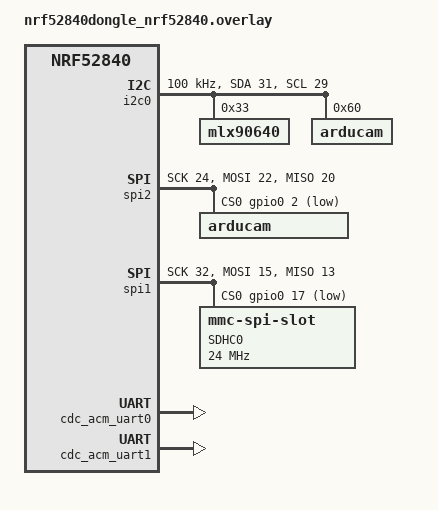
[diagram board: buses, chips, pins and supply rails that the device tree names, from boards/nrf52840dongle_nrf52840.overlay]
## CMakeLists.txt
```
cmake_minimum_required(VERSION 3.20.0)

# We are only building for one board
set(BOARD nrf52840dongle_nrf52840)

# If CONF_FILE is set then boards/${BOARD}.conf is not automatically merged anymore!
# Therefore only use OVERLAY_CONFIG
list(APPEND OVERLAY_CONFIG "overlay-debug.conf")
list(APPEND OVERLAY_CONFIG "overlay-ble.conf")

find_package(Zephyr REQUIRED HINTS $ENV{ZEPHYR_BASE})
project(heaty_dataCollector)

target_sources(app PRIVATE
	src/main.c
	src/control.c
	src/shell_commands.c
	)
	
add_subdirectory(../modules build)

zephyr_include_directories(config)
zephyr_library_compile_options(-Wall -Wextra -Wno-unused-parameter -Wno-unused-variable -Wno-comment)
```

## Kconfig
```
menu "heaty_dataCollector"

rsource "../modules/Kconfig.myModules"

endmenu

menu "Zephyr Kernel"
source "Kconfig.zephyr"
endmenu

module = HEATY
module-str = Heaty nrf52840
source "${ZEPHYR_BASE}/subsys/logging/Kconfig.template.log_config"
```

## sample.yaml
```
sample:
  name: Heaty Data Collector
```

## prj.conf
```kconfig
### General Configuration
#--------------------
CONFIG_NEWLIB_LIBC=y
CONFIG_NEWLIB_LIBC_FLOAT_PRINTF=y
CONFIG_CBPRINTF_FP_SUPPORT=y
CONFIG_FPU=y
CONFIG_HW_STACK_PROTECTION=y
CONFIG_SPEED_OPTIMIZATIONS=y

### Memory Configuration
#--------------------
CONFIG_HEAP_MEM_POOL_SIZE=130000

##############################
### Application features
##############################
CONFIG_HEATY_LOG_LEVEL_DBG=y
CONFIG_BASE64=y

CONFIG_DATE_TIME=y
# need to manually switch this off as no network is enabled and KConfig does not pass
CONFIG_DATE_TIME_NTP=n


CONFIG_WAIT_FOR_SERIAL_ATTACHED=n
CONFIG_WAIT_FOR_MANUAL_START=n

CONFIG_BLE_MODULE=y
CONFIG_BLE_MODULE_LOG_LEVEL_DBG=y
CONFIG_BLE_ENABLE_CAMERA_SERVICE=y
CONFIG_BLE_ENABLE_HEATY_SERVICE=y
CONFIG_BLE_ENABLE_TIME_SERVICE=y

CONFIG_SENSORS_MODULE=y
CONFIG_SENSORS_MODULE_LOG_LEVEL_INF=y
CONFIG_SENSORS_MLX90640=y
CONFIG_HEAT_MAP_CYCLE=10

CONFIG_CAMERA_MODULE=y
CONFIG_CAMERA_MODULE_LOG_LEVEL_DBG=y
CONFIG_CAMERA_DEFAULT_JPEG_SIZE=5
CONFIG_CAMERA_DEFAULT_CAM_INTERVAL=10
CONFIG_CAMERA_IMAGE_CHUNCK_SIZE=10239
CONFIG_ARDUCAM_MODULE_LOG_LEVEL_INF=y
CONFIG_ARDUCAM_TWI_USE_ZEPHYR=y
CONFIG_ARDUCAM_SPI_USE_ZEPHYR=y
CONFIG_ARDUCAM_TWI_USE_NRFX=n
CONFIG_ARDUCAM_SPI_USE_NRFX=n

CONFIG_FS_MODULE=y
CONFIG_FS_MODULE_LOG_LEVEL_DBG=y

CONFIG_FS_FATFS_LFN=y
CONFIG_FS_FATFS_MAX_LFN=24

### Shell
#--------------------
CONFIG_SHELL=y
CONFIG_SHELL_ARGC_MAX=8
CONFIG_SHELL_CMD_BUFF_SIZE=256
CONFIG_SHELL_STACK_SIZE=2048
CONFIG_SHELL_VT100_COLORS=n


### Event Manager
#--------------------
CONFIG_EVENT_MANAGER=y
CONFIG_LINKER_ORPHAN_SECTION_PLACE=y
CONFIG_REBOOT=y

CONFIG_CAF=y
CONFIG_CAF_LEDS=y
CONFIG_CAF_LEDS_PWM=y
CONFIG_PWM=y
CONFIG_LED=y
CONFIG_LED_PWM=y
CONFIG_LED_GPIO=n
CONFIG_CAF_LEDS_GPIO=n

CONFIG_CAF_BUTTONS=y
CONFIG_CAF_BUTTONS_POLARITY_INVERSED=y

### USB Settings (shell, logging, serial DFU)
#--------------------
CONFIG_USB_DEVICE_STACK=y
CONFIG_USB_DEVICE_PRODUCT="Heaty"
CONFIG_USB_DEVICE_MANUFACTURER="J"
CONFIG_USB_DEVICE_SN="HTY_000000000000"
# set to any value to avoid the warning during build
CONFIG_USB_DEVICE_VID=0x1234
CONFIG_USB_DEVICE_PID=0x5678

# large effect on memory
CONFIG_USB_CDC_ACM_RINGBUF_SIZE=2048
CONFIG_USB_MAX_NUM_TRANSFERS=4

# Switch off unused USB features
CONFIG_USB_COMPOSITE_DEVICE=n
CONFIG_USB_MASS_STORAGE=n

### SD CARD
#--------------------
CONFIG_GPIO=y
CONFIG_SPI=y
CONFIG_DISK_ACCESS=y
CONFIG_DISK_DRIVER_SDMMC=y
CONFIG_FILE_SYSTEM=y
CONFIG_FAT_FILESYSTEM_ELM=y

# Settings
CONFIG_FCB=y
CONFIG_SETTINGS=y
CONFIG_SETTINGS_FCB=y
CONFIG_FLASH=y
CONFIG_FLASH_PAGE_LAYOUT=y
CONFIG_FLASH_MAP=y
CONFIG_MPU_ALLOW_FLASH_WRITE=y
```

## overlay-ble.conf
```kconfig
### BLUETOOTH
#--------------------
CONFIG_BLE_MODULE=y

CONFIG_BT=y
CONFIG_BT_DEVICE_NAME="Heaty"
CONFIG_BT_PERIPHERAL=y
CONFIG_BT_PERIPHERAL_PREF_MIN_INT=6
CONFIG_BT_PERIPHERAL_PREF_MAX_INT=16
CONFIG_BT_PERIPHERAL_PREF_LATENCY=0
CONFIG_BT_PERIPHERAL_PREF_TIMEOUT=400
CONFIG_BT_BONDABLE=n
CONFIG_BT_MAX_CONN=2
CONFIG_BT_MAX_PAIRED=2
CONFIG_BT_AUTO_PHY_UPDATE=y
CONFIG_BT_DATA_LEN_UPDATE=y
CONFIG_BT_HCI_ACL_FLOW_CONTROL=y
CONFIG_BT_L2CAP_TX_MTU=260
CONFIG_BT_BUF_ACL_RX_SIZE=264
CONFIG_BT_NUS=y
CONFIG_BT_GATT_CLIENT=y
# This must be set manually on the thingy91_nrf52840
CONFIG_BT_CTLR=y
CONFIG_BT_CTLR_RX_BUFFERS=10
CONFIG_BT_BUF_ACL_TX_COUNT=10
CONFIG_BT_BUF_ACL_TX_SIZE=251
CONFIG_BT_CTLR_DATA_LENGTH_MAX=251

CONFIG_BT_SETTINGS=y

# Settings
CONFIG_FCB=y
CONFIG_SETTINGS=y
CONFIG_SETTINGS_FCB=y
CONFIG_FLASH=y
CONFIG_FLASH_PAGE_LAYOUT=y
CONFIG_FLASH_MAP=y
CONFIG_MPU_ALLOW_FLASH_WRITE=y

CONFIG_SHELL_BT_NUS=y
CONFIG_SHELL_BT_NUS_INIT_LOG_LEVEL_DBG=y
CONFIG_SHELL_BT_NUS_TX_RING_BUFFER_SIZE=240
CONFIG_SHELL_BT_NUS_RX_RING_BUFFER_SIZE=240
CONFIG_SHELL_BT_NUS_LOG_MESSAGE_QUEUE_SIZE=10
CONFIG_SHELL_BT_NUS_LOG_MESSAGE_QUEUE_TIMEOUT=1000

# Increase stack
CONFIG_SYSTEM_WORKQUEUE_STACK_SIZE=4096
```

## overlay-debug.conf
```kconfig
### Debug
#--------------------
CONFIG_DEBUG=y

### Logging
#--------------------
CONFIG_LOG=y
# CONFIG_LOG2_MODE_IMMEDIATE on the nrf52840 dongle (cdc usb uart only) makes the board not comming up anymore
CONFIG_LOG2_MODE_DEFERRED=y
CONFIG_LOG_BUFFER_SIZE=8096
CONFIG_LOG_PROCESS_THREAD_STACK_SIZE=1536

# logging over cdc usb needs CONFIG_CONSOLE, CONFIG_UART_CONSOLE and CONFIG_LOG_BACKEND_UART
CONFIG_CONSOLE=y
CONFIG_UART_CONSOLE=y
CONFIG_LOG_BACKEND_UART=y
CONFIG_SHELL_LOG_BACKEND=n

CONFIG_LOG_BACKEND_FS=y
CONFIG_LOG_BACKEND_FS_OUTPUT_TEXT=y
CONFIG_LOG_BACKEND_FS_DIR="/SD:"
CONFIG_LOG_BACKEND_FS_FILES_LIMIT=100
CONFIG_LOG_BACKEND_FS_FILE_SIZE=104857600
CONFIG_LOG_SPEED=y

# https://docs.zephyrproject.org/latest/services/logging/index.html?highlight=dictionary#id8

#CONFIG_LOG_BACKEND_UART_OUTPUT_DICTIONARY_BIN=y -> 800 to 400
#CONFIG_LOG_BACKEND_UART_OUTPUT_DICTIONARY_HEX=y -> 800 to 800 (double of BIN)


#defaults
#CONFIG_LOG_BACKEND_FS_FILE_PREFIX="log."
#CONFIG_LOG_BACKEND_FS_OVERWRITE=y

#increase buffers
CONFIG_LOG_BUFFER_SIZE=8192
CONFIG_LOG_PROCESS_THREAD_STACK_SIZE=4096

# to make "shell_uart: update." silent
CONFIG_LOG_DEFAULT_LEVEL=1
# to make USB CDC not connected silent
CONFIG_USB_CDC_ACM_LOG_LEVEL_ERR=y

# BT NUS does not take care to stop the shell (logging) when disconnected. Silence failure notifications.
CONFIG_SHELL_BT_NUS_LOG_LEVEL_ERR=y

### Thread analyzer
#--------------------
CONFIG_THREAD_ANALYZER=y
CONFIG_THREAD_ANALYZER_USE_LOG=n
CONFIG_THREAD_ANALYZER_AUTO=n
#CONFIG_THREAD_ANALYZER_AUTO_INTERVAL=3600
#CONFIG_THREAD_ANALYZER_AUTO_STACK_SIZE=1024
CONFIG_THREAD_NAME=y
CONFIG_THREAD_RUNTIME_STATS=y


# thread_analyzer:  SDC RX              : STACK: unused 720 usage 304 / 1024 (29 %); CPU: 0 %.[0m
# thread_analyzer:  thread_analyzer     : STACK: unused 520 usage 504 / 1024 (49 %); CPU: 0 %.[0m
# thread_analyzer:  sensors_module_thread: STACK: unused 2576 usage 5520 / 8096 (68 %); CPU: 0 %.[0m
# thread_analyzer:  fs_module_thread    : STACK: unused 672 usage 1376 / 2048 (67 %); CPU: 3 %.[0m
# thread_analyzer:  camera_module_thread: STACK: unused 1352 usage 600 / 1952 (30 %); CPU: 0 %.[0m
# thread_analyzer:  ble_module_thread   : STACK: unused 1584 usage 464 / 2048 (22 %); CPU: 0 %.[0m
# thread_analyzer:  0x200060b0          : STACK: unused 448 usage 576 / 1024 (56 %); CPU: 1 %.[0m
# thread_analyzer:  sysworkq            : STACK: unused 3264 usage 736 / 4000 (18 %); CPU: 0 %.[0m
# thread_analyzer:  MPSL signal         : STACK: unused 864 usage 160 / 1024 (15 %); CPU: 0 %.[0m
# thread_analyzer:  usbworkq            : STACK: unused 704 usage 320 / 1024 (31 %); CPU: 5 %.[0m
# thread_analyzer:  shell_uart          : STACK: unused 1640 usage 408 / 2048 (19 %); CPU: 0 %.[0m
# thread_analyzer:  logging             : STACK: unused 1296 usage 656 / 1952 (33 %); CPU: 1 %.[0m
# thread_analyzer:  idle 00             : STACK: unused 216 usage 104 / 320 (32 %); CPU: 82 %.[0m

### Heap memory statistics
#--------------------
CONFIG_HEAP_MEMORY_STATISTICS=y
CONFIG_MEMORY_STAT_LOG_LEVEL_WRN=y
CONFIG_HEAP_MEMORY_STATISTICS_THREAD=y
CONFIG_HEAP_MEMORY_STATISTICS_THREAD_TIMEOUT=15
```

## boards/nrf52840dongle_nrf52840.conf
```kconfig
CONFIG_BOARD_HAS_NRF5_BOOTLOADER=y
CONFIG_BOOTLOADER_MCUBOOT=n
```

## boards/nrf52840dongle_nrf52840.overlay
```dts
#include <dt-bindings/gpio/gpio.h>

/ {
	chosen {
		zephyr,console = &cdc_acm_uart0;
		zephyr,shell-uart = &cdc_acm_uart1;
	};

/*
	// Check this out in the future
	fstab {
		compatible = "zephyr,fstab";
		lfs1: lfs1 {
			compatible = "zephyr,fstab,littlefs";
			mount-point = "/lfs1";
			partition = <&lfs1_part>;
			automount;
			read-size = <16>;
			prog-size = <16>;
			cache-size = <64>;
			lookahead-size = <32>;
			block-cycles = <512>;
		};
	}; 
*/


};

&uart0 {
	status = "disabled";
};

&i2c0 {
	compatible = "nordic,nrf-twim";
	status = "okay";
	sda-pin = <31>;
	scl-pin = <29>;
	clock-frequency = <I2C_BITRATE_STANDARD>;

	mlx90640: mlx90640@33 {
		compatible = "mlx90640";
		reg = <0x33>;
		label = "MLX90640";
	};

	arducam_i2c0: arducam_i2c@60 {
		compatible = "arducam";
		reg = <0x60>;
		status = "okay";
		label = "ARDUCAM";
	};
};

&spi2 {
	compatible = "nordic,nrf-spi";
	status = "okay";
	sck-pin = <24>;
	mosi-pin = <22>;
	miso-pin = <20>;
	cs-gpios = <&gpio0 2 GPIO_ACTIVE_LOW>;
	arducam_spi0: arducam_spi@0 {
		compatible = "arducam";
		reg = <0>;
		status = "okay";
		label = "ARDUCAM";
	};
};

&spi1 {
	compatible = "nordic,nrf-spi";
	status = "okay";
	sck-pin = <32>;
	mosi-pin = <15>;
	miso-pin = <13>;
	cs-gpios = <&gpio0 17 GPIO_ACTIVE_LOW>;
    sdhc0: sdhc@0 {
                compatible = "zephyr,mmc-spi-slot";
                reg = <0>;
                status = "okay";
                label = "SDHC0";
                spi-max-frequency = <24000000>;
    };
};

&zephyr_udc0 {
	cdc_acm_uart0: cdc_acm_uart0 {
		compatible = "zephyr,cdc-acm-uart";
		label = "CDC_ACM_0";
	};

	cdc_acm_uart1: cdc_acm_uart1 {
		compatible = "zephyr,cdc-acm-uart";
		label = "CDC_ACM_1";
	};
};
```

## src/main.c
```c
#define MODULE main

#include <caf/events/module_state_event.h>
#include <event_manager.h>
#include <logging/log.h>
#include <zephyr.h>

#include "common/modules_common.h"
#include "utils.h"
#include "util_settings.h"

#ifdef CONFIG_USB_DEVICE_STACK
#include "usb_console.h"
#endif

LOG_MODULE_REGISTER(MODULE, CONFIG_HEATY_LOG_LEVEL);

void sendReady() {
    module_set_state(MODULE_STATE_READY);
}

void main(void) {
  // Reminder: CAF_LED only works after MODULE_STATE_READY!
  blink(1000);
#ifdef CONFIG_USB_DEVICE_STACK
  enable_usb_console();
#endif

  LOG_INF("Hello World! %s", CONFIG_BOARD);
  LOG_INF("build time: " __DATE__ " " __TIME__);

  if (event_manager_init()) {
    LOG_ERR("Event manager not initialized");
  } else {
#ifndef CONFIG_WAIT_FOR_MANUAL_START
    // sometimes crashes if not waiting here ... no idea why
    k_sleep(K_SECONDS(1));
    settings_util_init();
    sendReady();
#endif
  }

#ifdef CONFIG_CAF_LEDS
  send_led_event(LED_EVENT_STARTUP);
#endif

}
```

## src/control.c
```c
#define MODULE control_module

#include <event_manager.h>
#include <logging/log.h>
#include <stdio.h>
#include <zephyr.h>

#include "bt/bt_module_event.h"
#include "camera/camera_module_event.h"
#include "common/modules_common.h"
#ifdef CONFIG_FS_MODULE
#include "fs/fs_module_event.h"
#endif
#ifdef CONFIG_CAF_BUTTONS
#include <caf/events/button_event.h>
#endif
#include "sensors/sensors_module_event.h"
#include "util_settings.h"

LOG_MODULE_REGISTER(MODULE, CONFIG_HEATY_LOG_LEVEL);

#ifdef CONFIG_BLE_ENABLE_CAMERA_SERVICE
static void sendEvToBle(const char* buf, uint32_t size, bool useBase64) {
  struct bt_data_module_event* bt_event = new_bt_data_module_event(size);
  bt_event->type = BT_EVT_CAMERA_SEND;
  bt_event->dyndata.size = size;
  memcpy(bt_event->dyndata.data, buf, size);
  bt_event->useBase64 = useBase64;
  EVENT_SUBMIT(bt_event);
}

#define MAX_HEADER_LENGTH (CONFIG_MAX_PATH_LENGTH + 19 + 6)

static void sendHeader(const char* filename, uint32_t imageSize) {
  LOG_INF("send bluetooth header");
  static char header[MAX_HEADER_LENGTH];

  memset(header, 0, MAX_HEADER_LENGTH);
  snprintf(header, MAX_HEADER_LENGTH, "{\"name\":\"%s\",\"size\":%d}", filename, imageSize);
  sendEvToBle(header, strlen(header), false);
}

static void sendFinal() {
  char buf[1] = {0};
  sendEvToBle(buf, 1, false);
}

static bool handle_bt_module_event(const struct bt_module_event* event) {
  if (event->type == BT_EVT_SET_ARDUCAM_JPEG_SIZE) {
    SEND_VAL(camera, CAMERA_EVT_SET_ARDUCAM_JPEG_SIZE, event->data.val);
  }
  if (event->type == BT_EVT_SET_ARDUCAM_LIGHT_MODE) {
    SEND_VAL(camera, CAMERA_EVT_SET_ARDUCAM_LIGHT_MODE, event->data.val);
  }
  if (event->type == BT_EVT_SET_ARDUCAM_COLOR_SATURATION) {
    SEND_VAL(camera, CAMERA_EVT_SET_ARDUCAM_COLOR_SATURATION, event->data.val);
  }
  if (event->type == BT_EVT_SET_ARDUCAM_BRIGHTNESS) {
    SEND_VAL(camera, CAMERA_EVT_SET_ARDUCAM_BRIGHTNESS, event->data.val);
  }
  if (event->type == BT_EVT_SET_ARDUCAM_CONTRAST) {
    SEND_VAL(camera, CAMERA_EVT_SET_ARDUCAM_CONTRAST, event->data.val);
  }
  if (event->type == BT_EVT_SET_ARDUCAM_SPECIAL_EFFECTS) {
    SEND_VAL(camera, CAMERA_EVT_SET_ARDUCAM_SPECIAL_EFFECTS, event->data.val);
  }
  if (event->type == BT_EVT_SET_ARDUCAM_TAKE_PICTURE) {
    SEND_VAL(camera, CAMERA_EVT_SET_ARDUCAM_TAKE_PICTURE, event->data.val);
  }
  if (event->type == BT_EVT_SET_ARDUCAM_JPEG_QUALITY) {
    SEND_VAL(camera, CAMERA_EVT_SET_ARDUCAM_JPEG_QUALITY, event->data.val);
  }
  if (event->type == BT_EVT_SET_ARDUCAM_CAM_INTERVAL) {
    SEND_VAL(camera, CAMERA_EVT_SET_ARDUCAM_CAM_INTERVAL, event->data.val);
  }
  return false;
}
#else
static bool handle_bt_module_event(const struct bt_module_event* event) {
  return false;
}
#endif

static const char* counter_key = "counter";
static char filename[CONFIG_MAX_PATH_LENGTH];

#ifdef CONFIG_DATE_TIME
#include <date_time.h>
#endif

static bool handle_camera_module_data_event(const struct camera_module_data_event* event) {
  LOG_DBG("handle_camera_module_data_event");

  if (event->type == CAMERA_DATA_EVT_DATA_READY) {
#ifdef CONFIG_DATE_TIME
    struct tm* tm_localtime;
    int64_t t = 0;
    int ret = date_time_now(&t);
    if (ret < 0) {
      t = k_uptime_get();
    }
    t /= 1000;
    tm_localtime = localtime(&t);
    sprintf(filename, "%02u-%02u-%02u-%02u-%02u.jpg", tm_localtime->tm_mon + 1,
            tm_localtime->tm_mday, tm_localtime->tm_hour, tm_localtime->tm_min,
            tm_localtime->tm_sec);
#endif

    if (event->isFirst) {
#ifndef CONFIG_DATE_TIME
      incrementCounter(counter_key);
      sprintf(filename, "%05d.jpg", getCounter(counter_key));
#endif

#ifdef CONFIG_BLE_ENABLE_CAMERA_SERVICE
      sendHeader(filename, event->imageSize);
#endif
    } else {
#ifndef CONFIG_DATE_TIME
      sprintf(filename, "%05d.jpg", getCounter(counter_key));
#endif
    }

    struct fs_data_module_event* fs_event = new_fs_data_module_event(event->dyndata.size);
    memcpy(fs_event->dyndata.data, event->dyndata.data, event->dyndata.size);
    fs_event->dyndata.size = event->dyndata.size;
    fs_event->type = (event->isFirst) ? FS_EVT_WRITE_FILE : FS_EVT_APPEND_FILE;
    memcpy(fs_event->file_path, filename, CONFIG_MAX_PATH_LENGTH);

#ifdef CONFIG_BLE_ENABLE_CAMERA_SERVICE
    sendEvToBle(event->dyndata.data, event->dyndata.size, true);
    if (event->isLast) {
      sendFinal();
    }
#endif

    EVENT_SUBMIT(fs_event);
  }
  return false;
}

static bool handle_sensors_data_module_event(const struct sensors_data_module_event* event) {
  if (event->type == SENSORS_EVT_HEAT_MAP_DATA_READY) {
#ifdef CONFIG_BLE_ENABLE_HEATY_SERVICE
    {
      struct bt_data_module_event* bt_event = new_bt_data_module_event(event->dyndata.size);
      bt_event->type = BT_EVT_HEATMAP_SEND;
      bt_event->dyndata.size = event->dyndata.size;
      memcpy(bt_event->dyndata.data, event->dyndata.data, event->dyndata.size);
      bt_event->useBase64 = true;
      EVENT_SUBMIT(bt_event);
    }
    {
      struct bt_data_module_event* bt_event = new_bt_data_module_event(1);
      bt_event->type = BT_EVT_HEATMAP_SEND;
      bt_event->dyndata.size = 1;
      memset(bt_event->dyndata.data, 0, 1);
      bt_event->useBase64 = false;
      EVENT_SUBMIT(bt_event);
    }
#endif

#ifdef CONFIG_FS_MODULE
    {
#ifdef CONFIG_DATE_TIME
      struct tm* tm_localtime;
      int64_t t = 0;
      int ret = date_time_now(&t);
      if (ret < 0) {
        t = k_uptime_get();
      }
      t /= 1000;
      tm_localtime = localtime(&t);
      sprintf(filename, "%02u-%02u-%02u-%02u-%02u.map", tm_localtime->tm_mon + 1,
              tm_localtime->tm_mday, tm_localtime->tm_hour, tm_localtime->tm_min,
              tm_localtime->tm_sec);
#else
      sprintf(filename, "%04d.map", getCounter(counter_key));
#endif
      struct fs_data_module_event* fs_event = new_fs_data_module_event(event->dyndata.size);
      fs_event->type = FS_EVT_WRITE_FILE;
      memcpy(fs_event->file_path, filename, CONFIG_MAX_PATH_LENGTH);
      memcpy(fs_event->dyndata.data, event->dyndata.data, event->dyndata.size);
      fs_event->dyndata.size = event->dyndata.size;
      EVENT_SUBMIT(fs_event);
    }
#endif
  }
  return false;
}

#ifdef CONFIG_CAF_BUTTONS
enum button_id { BUTTON_ID_0, BUTTON_ID_COUNT };

static bool handle_button_event(const struct button_event* evt) {
  LOG_DBG("button_event pressed:%d, key_id:%d", evt->pressed, evt->key_id);
  if (evt->pressed) {
    switch (evt->key_id) {
      case BUTTON_ID_0:
        SEND_EVENT(bt, BT_EVT_TOGGLE_ADVERTISING);
        break;
      default:
        break;
    }
  } else {
    switch (evt->key_id) {
      case BUTTON_ID_0:
        break;
      default:
        break;
    }
  }

  return false;
}
#endif

static bool event_handler(const struct event_header* eh) {
#ifdef CONFIG_BLE_ENABLE_CAMERA_SERVICE
  if (is_camera_module_data_event(eh)) {
    return handle_camera_module_data_event(cast_camera_module_data_event(eh));
  }
#endif

  if (is_bt_module_event(eh)) {
    return handle_bt_module_event(cast_bt_module_event(eh));
  }

  if (is_sensors_data_module_event(eh)) {
    return handle_sensors_data_module_event(cast_sensors_data_module_event(eh));
  }

#ifdef CONFIG_CAF_BUTTONS
  if (is_button_event(eh)) {
    return handle_button_event(cast_button_event(eh));
  }
#endif

  LOG_WRN("unhandled event.");
  return false;
}

EVENT_LISTENER(MODULE, event_handler);
#ifdef CONFIG_BLE_ENABLE_CAMERA_SERVICE
EVENT_SUBSCRIBE(MODULE, camera_module_data_event);
#endif
EVENT_SUBSCRIBE(MODULE, bt_module_event);
EVENT_SUBSCRIBE(MODULE, sensors_data_module_event);
#ifdef CONFIG_CAF_BUTTONS
EVENT_SUBSCRIBE(MODULE, button_event);
#endif
```

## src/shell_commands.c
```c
#ifdef CONFIG_SHELL

#include <logging/log.h>
#include <shell/shell.h>

#include "common/memory_hook.h"
LOG_MODULE_REGISTER(shell, CONFIG_HEATY_LOG_LEVEL);

static int echo(const struct shell *shell, size_t argc, char **argv) {
  shell_print(shell, "argc = %d", argc);
  for (size_t cnt = 0; cnt < argc; cnt++) {
    shell_print(shell, "  argv[%d] = %s", cnt, argv[cnt]);
  }

  return 0;
}

static int log_hello(const struct shell *shell, size_t argc, char **argv) {
  LOG_INF("Hello World! %s\n", CONFIG_BOARD);
  LOG_INF("build time: " __DATE__ " " __TIME__);

  return 0;
}

extern void sendReady();
static int module_state_ready(const struct shell *shell, size_t argc, char **argv) {
  sendReady();
  return 0;
}

#include <time.h>
static int test_time_functions(const struct shell *shell, size_t argc, char **argv) {
  struct tm *tm_localtime;
  struct tm *tm_gmtime;
  time_t t;
  t = k_uptime_get();
  t /= 1000;
  tm_localtime = localtime(&t);
  tm_gmtime = gmtime(&t);
  shell_print(shell, "unix time in ms %lli", t);
  shell_print(shell, "asctime(tm_localtime): %s", asctime(tm_localtime));
  shell_print(shell, "asctime(tm_gmtime)   : %s", asctime(tm_gmtime));

  shell_print(shell, "custom formatting: %04u-%02u-%02u %02u:%02u:%02u",
              tm_localtime->tm_year + 1900, tm_localtime->tm_mon + 1, tm_localtime->tm_mday,
              tm_localtime->tm_hour, tm_localtime->tm_min, tm_localtime->tm_sec);

  return 0;
}

#ifdef CONFIG_DATE_TIME
#include <date_time.h>
#include <stdlib.h>

static int date_get(const struct shell *shell, size_t argc, char **argv) {
  int64_t t = 0;
  date_time_now(&t);
  t /= 1000;

  struct tm *tm_localtime;
  tm_localtime = localtime(&t);
  shell_print(shell, "%s unix time: %lli", asctime(tm_localtime), t);

  return 0;
}

static int date_set(const struct shell *shell, size_t argc, char **argv) {
  if (argc >= 2) {
    struct tm *tm_localtime;
    char *eptr;
    time_t t = strtoll(argv[1], &eptr, strlen(argv[1]));

    tm_localtime = localtime(&t);

    date_time_set(tm_localtime);
    shell_print(shell, "Set time to %s (%lli)", asctime(tm_localtime), t);
  }
  return 0;
}
#endif

#ifdef CONFIG_CAF_LEDS
#include "utils.h"
static int test_led(const struct shell *shell, size_t argc, char **argv) {
  shell_print(shell, "Testing red led");
  send_led_event(LED_TEST_RED);
  k_sleep(K_SECONDS(1));
  shell_print(shell, "Testing green led");
  send_led_event(LED_TEST_GREEN);
  k_sleep(K_SECONDS(1));
  shell_print(shell, "Testing blue led");
  send_led_event(LED_TEST_BLUE);
  k_sleep(K_SECONDS(1));
  shell_print(shell, "Testing warning event effect");
  send_led_event(LED_EVENT_WARNING);
  return 0;
}

static int clear_led(const struct shell *shell, size_t argc, char **argv) {
  send_led_event(LED_OFF);
  return 0;
}
#endif

#include "camera/arducam_mini_2mp/ArducamMini2MP.h"

// W 0xff, 0x01          appCtrl arducam_reg_write 255 1
// R 0x0A 10 => 0x26 38  appCtrl arducam_reg_read 10
// R 0x0B 11 => 0x42 66  appCtrl arducam_reg_read 11
#include <stdlib.h>

// atoi

static int arducam_reg_write(const struct shell *shell, size_t argc, char **argv) {
  if (argc >= 2) {
    long int li1, li2;
    char *pEnd;
    li1 = strtol(argv[1], &pEnd, 10);
    li2 = strtol(argv[2], &pEnd, 10);
    shell_print(shell, "echo %d, %d", li1, li2);
    arducam_mini_2mp_low_reg_write(li1, li2);
  }
  return 0;
}
static int arducam_reg_read(const struct shell *shell, size_t argc, char **argv) {
  if (argc >= 1) {
    long int li1;
    char *pEnd;
    li1 = strtol(argv[1], &pEnd, 10);
    shell_print(shell, "echo %d", li1);
    shell_print(shell, "%d", arducam_mini_2mp_low_reg_read(li1));
  }
  return 0;
}

static int arducam_manual_exposure(const struct shell *shell, size_t argc, char **argv) {
  if (argc >= 1) {
    long int li1;
    char *pEnd;
    li1 = strtol(argv[1], &pEnd, 10);
    shell_print(shell, "echo %d", li1);
    arducam_mini_2mp_manual_exposure(li1);
  }
  return 0;
}

static int arducam_manual_gain(const struct shell *shell, size_t argc, char **argv) {
  if (argc >= 1) {
    long int li1;
    char *pEnd;
    li1 = strtol(argv[1], &pEnd, 10);
    shell_print(shell, "echo %d", li1);
    arducam_mini_2mp_manual_gain(li1);
  }
  return 0;
}

static int arducam_manual_whileBalance(const struct shell *shell, size_t argc, char **argv) {
  if (argc >= 3) {
    long int li1;
    long int li2;
    long int li3;
    char *pEnd;
    li1 = strtol(argv[1], &pEnd, 10);
    li2 = strtol(argv[2], &pEnd, 10);
    li3 = strtol(argv[3], &pEnd, 10);
    shell_print(shell, "echo %d, %d, %d", li1, li2, li3);
    arducam_mini_2mp_manual_whileBalance(li1, li2, li3);
  }
  return 0;
}

static int arducam_manual_ae_level(const struct shell *shell, size_t argc, char **argv) {
  if (argc >= 1) {
    long int li1;
    char *pEnd;
    li1 = strtol(argv[1], &pEnd, 10);
    shell_print(shell, "echo %d", li1);
    arducam_mini_2mp_set_ae_level(li1);
  }
  return 0;
}

SHELL_STATIC_SUBCMD_SET_CREATE(
    sub_appCtrl, SHELL_CMD(echo, NULL, "Echo back the arguments", echo),
    SHELL_CMD(log_hello, NULL, "Log hello", log_hello),
    SHELL_CMD(arducam_reg_write, NULL, "Log hello", arducam_reg_write),
    SHELL_CMD(arducam_reg_read, NULL, "Log hello", arducam_reg_read),
    SHELL_CMD(arducam_manual_exposure, NULL, "Log hello", arducam_manual_exposure),
    SHELL_CMD(arducam_manual_gain, NULL, "Log hello", arducam_manual_gain),
    SHELL_CMD(arducam_manual_whileBalance, NULL, "Log hello", arducam_manual_whileBalance),
    SHELL_CMD(arducam_manual_ae_level, NULL, "Log hello", arducam_manual_ae_level),
    SHELL_CMD(module_state_ready, NULL, "Set module_state_ready for manual start",
              module_state_ready),
    SHELL_CMD(test_time_functions, NULL, "Test time functions", test_time_functions),
#ifdef CONFIG_DATE_TIME
    SHELL_CMD(date_get, NULL, "Get the date by asctime", date_get),
    SHELL_CMD(date_set, NULL, "Set the date by unix time format as argv", date_set),
#endif
#ifdef CONFIG_CAF_LEDS
    SHELL_CMD(test_led, NULL, "test CAF LED module", test_led),
    SHELL_CMD(clear_led, NULL, "clear led", clear_led),
#endif
    SHELL_SUBCMD_SET_END /* Array terminated. */
);
SHELL_CMD_REGISTER(appCtrl, &sub_appCtrl, "Control heaty datacollector", NULL);

#endif
```
